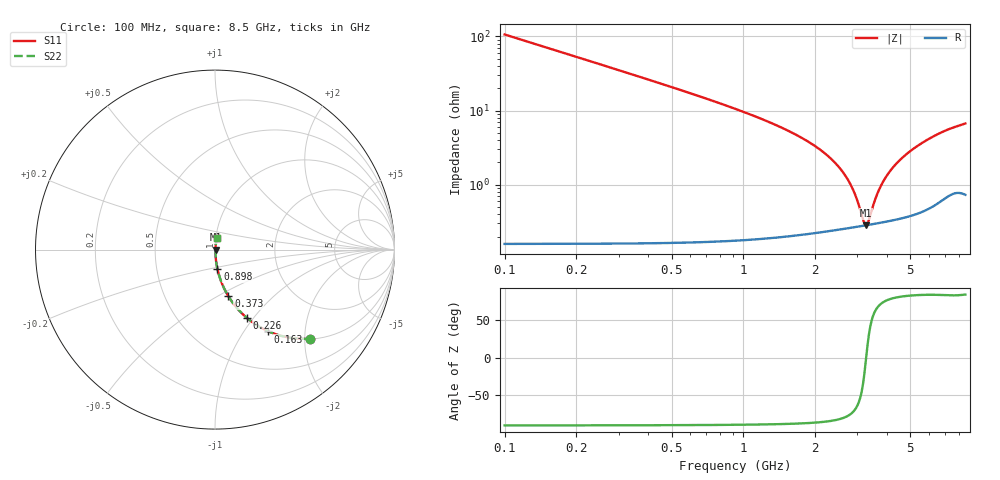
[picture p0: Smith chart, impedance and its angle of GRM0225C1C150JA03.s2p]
!Murata Part Number: GRM0225C1C150JA03
!These Parameters are Measured in Series Mode Connection
!Data Generated on Mar 30, 2021
!  o--ll--o
!Port1  Port2
!  o------o
!Operation Temp=25[degC], DC Bias Voltage=0[V]
!Freq. Start=100[MHz] Stop=9[GHz] 401[Steps]
# Hz S RI R 50
!Freq.(Hz) S11(Real) S11(Imag) S21(Real) S21(Imag) S12(Real) S12(Imag) S22(Real) S22(Imag)
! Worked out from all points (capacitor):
!   401 points, 100 MHz to 8.5 GHz, reference 50 ohm
!   read as one part in series: C = 15 pF near 142 MHz
!   lowest |Z| = 284 mohm at 3.271 GHz (marker M1)
!   series resonance near 3.265 GHz, so ESL is about 160 pH
!   S11 on the Smith chart (normalised r, x): 100 MHz: 1.00, -2.12; 163 MHz: 1.00, -1.30; 226 MHz: 1.00, -0.93; 373 MHz: 1.00, -0.56; 898 MHz: 1.00, -0.22; 8.5 GHz: 1.01, +0.13
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1e8  0.5291 -0.4984  0.4709 0.4984  0.4709 0.4984  0.5291 -0.4984
1.63e8  0.297 -0.4557  0.703 0.4557  0.703 0.4557  0.297 -0.4557
2.26e8  0.18 -0.3825  0.82 0.3825  0.82 0.3825  0.18 -0.3825
2.89e8  0.1182 -0.3206  0.8818 0.3206  0.8818 0.3206  0.1182 -0.3206
3.73e8  0.0743 -0.2594  0.9257 0.2594  0.9257 0.2594  0.0743 -0.2594
6.04e8  0.0294 -0.1642  0.9706 0.1642  0.9706 0.1642  0.0294 -0.1642
8.98e8  0.0134 -0.1073  0.9866 0.1073  0.9866 0.1073  0.0134 -0.1073
1.507e9  0.005 -0.0547  0.995 0.0547  0.995 0.0547  0.005 -0.0547
2.41e9  0.00281 -0.0197  0.9972 0.0197  0.9972 0.0197  0.00281 -0.0197
2.683e9  0.00271 -0.0126  0.9973 0.0126  0.9973 0.0126  0.00271 -0.0126
2.914e9  0.00271 -0.00728  0.9973 0.00728  0.9973 0.00728  0.00271 -0.00728
3.187e9  0.00279 -0.00154  0.9972 0.00154  0.9972 0.00154  0.00279 -0.00154
3.271e9  0.00283 0.000116  0.9972 -0.000116  0.9972 -0.000116  0.00283 0.000116
3.334e9  0.00286 0.00133  0.9971 -0.00133  0.9971 -0.00133  0.00286 0.00133
3.544e9  0.00299 0.00523  0.997 -0.00523  0.997 -0.00523  0.00299 0.00523
3.733e9  0.00312 0.00856  0.9969 -0.00856  0.9969 -0.00856  0.00312 0.00856
3.985e9  0.00333 0.0128  0.9967 -0.0128  0.9967 -0.0128  0.00333 0.0128
4.3e9  0.00365 0.0177  0.9964 -0.0177  0.9964 -0.0177  0.00365 0.0177
4.909e9  0.00441 0.0267  0.9956 -0.0267  0.9956 -0.0267  0.00441 0.0267
5.707e9  0.00579 0.0373  0.9942 -0.0373  0.9942 -0.0373  0.00579 0.0373
7.114e9  0.00961 0.0534  0.9904 -0.0534  0.9904 -0.0534  0.00961 0.0534
8.5e9  0.0115 0.0652  0.9885 -0.0652  0.9885 -0.0652  0.0115 0.0652
